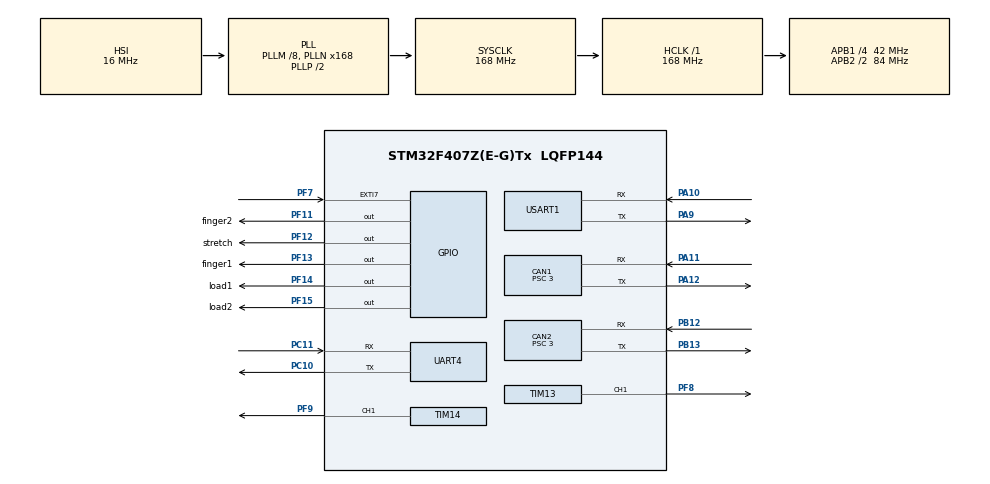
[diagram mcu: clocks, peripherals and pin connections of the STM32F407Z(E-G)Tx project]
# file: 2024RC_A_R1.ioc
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CAN1.ABOM=ENABLE
CAN1.BS1=CAN_BS1_9TQ
CAN1.BS2=CAN_BS2_4TQ
CAN1.CalculateBaudRate=1000000
CAN1.CalculateTimeBit=1000
CAN1.CalculateTimeQuantum=71.42857142857143
CAN1.Prescaler=3
CAN2.ABOM=ENABLE
CAN2.BS1=CAN_BS1_9TQ
CAN2.BS2=CAN_BS2_4TQ
CAN2.CalculateBaudRate=1000000
CAN2.CalculateTimeBit=1000
CAN2.CalculateTimeQuantum=71.42857142857143
CAN2.Prescaler=3
FREERTOS.Tasks01=FSM_switch,24,512,FSM_Task,Default,NULL,Dynamic,NULL,NULL;Chassis,16,512,Chassis_Task,Default,NULL,Dynamic,NULL,NULL;Seed,8,512,Seed_Task,Default,NULL,Dynamic,NULL,NULL;Shoot,8,512,Shoot_Task,Default,NULL,Dynamic,NULL,NULL;Move,16,512,Move_Task,Default,NULL,Dynamic,NULL,NULL
Mcu.Family=STM32F4
Mcu.Name=STM32F407Z(E-G)Tx
Mcu.Package=LQFP144
NVIC.CAN1_RX0_IRQn=true\:5\:0\:false\:false\:true\:true\:true\:true\:true
NVIC.CAN2_RX0_IRQn=true\:5\:0\:false\:false\:true\:true\:true\:true\:true
NVIC.EXTI9_5_IRQn=true\:5\:0\:false\:false\:true\:false\:true\:true\:true
NVIC.PriorityGroup=NVIC_PRIORITYGROUP_4
NVIC.TIM2_IRQn=true\:5\:0\:false\:false\:true\:true\:true\:true\:true
NVIC.TIM3_IRQn=true\:15\:0\:false\:false\:true\:false\:false\:true\:true
NVIC.TIM8_TRG_COM_TIM14_IRQn=true\:5\:0\:false\:false\:true\:true\:true\:true\:true
NVIC.TIM8_UP_TIM13_IRQn=true\:5\:0\:false\:false\:true\:true\:true\:true\:true
NVIC.TimeBase=TIM3_IRQn
NVIC.TimeBaseIP=TIM3
NVIC.UART4_IRQn=true\:5\:0\:false\:false\:true\:true\:true\:true\:true
NVIC.USART1_IRQn=true\:5\:0\:false\:false\:true\:true\:true\:true\:true
PA10.Mode=Asynchronous
PA10.Signal=USART1_RX
PA11.Mode=CAN_Activate
PA11.Signal=CAN1_RX
PA12.Mode=CAN_Activate
PA12.Signal=CAN1_TX
PA13.Mode=Serial_Wire
PA13.Signal=SYS_JTMS-SWDIO
PA14.Mode=Serial_Wire
PA14.Signal=SYS_JTCK-SWCLK
PA9.Mode=Asynchronous
PA9.Signal=USART1_TX
PB12.Mode=CAN_Activate
PB12.Signal=CAN2_RX
PB13.Mode=CAN_Activate
PB13.Signal=CAN2_TX
PC10.Mode=Asynchronous
PC10.Signal=UART4_TX
PC11.Mode=Asynchronous
PC11.Signal=UART4_RX
PC14-OSC32_IN.Mode=LSE-External-Oscillator
PC14-OSC32_IN.Signal=RCC_OSC32_IN
PC15-OSC32_OUT.Mode=LSE-External-Oscillator
PC15-OSC32_OUT.Signal=RCC_OSC32_OUT
PF11.GPIO_Label=finger2
PF11.Signal=GPIO_Output
PF12.GPIO_Label=stretch
PF12.Signal=GPIO_Output
PF13.GPIO_Label=finger1
PF13.Signal=GPIO_Output
PF14.GPIO_Label=load1
PF14.Signal=GPIO_Output
PF15.GPIO_Label=load2
PF15.Signal=GPIO_Output
PF7.Signal=GPXTI7
PF8.Signal=S_TIM13_CH1
PF9.Signal=S_TIM14_CH1
PH0-OSC_IN.Mode=HSE-External-Oscillator
PH0-OSC_IN.Signal=RCC_OSC_IN
PH1-OSC_OUT.Mode=HSE-External-Oscillator
PH1-OSC_OUT.Signal=RCC_OSC_OUT
ProjectManager.HeapSize=0x200
ProjectManager.StackSize=0x400
ProjectManager.TargetToolchain=MDK-ARM V5.32
RCC.48MHZClocksFreq_Value=84000000
RCC.AHBFreq_Value=168000000
RCC.APB1CLKDivider=RCC_HCLK_DIV4
RCC.APB1Freq_Value=42000000
RCC.APB1TimFreq_Value=84000000
RCC.APB2CLKDivider=RCC_HCLK_DIV2
RCC.APB2Freq_Value=84000000
RCC.APB2TimFreq_Value=168000000
RCC.CortexFreq_Value=168000000
RCC.HCLKFreq_Value=168000000
RCC.HSE_VALUE=8000000
RCC.HSI_VALUE=16000000
RCC.PLLM=8
RCC.PLLN=168
RCC.SYSCLKFreq_VALUE=168000000
RCC.SYSCLKSource=RCC_SYSCLKSOURCE_PLLCLK
RCC.VCOOutputFreq_Value=336000000
SH.S_TIM13_CH1.0=TIM13_CH1,PWM Generation1 CH1
SH.S_TIM14_CH1.0=TIM14_CH1,PWM Generation1 CH1
TIM13.AutoReloadPreload=TIM_AUTORELOAD_PRELOAD_ENABLE
TIM13.Channel=TIM_CHANNEL_1
TIM13.Period=19999
TIM13.Prescaler=83
TIM14.AutoReloadPreload=TIM_AUTORELOAD_PRELOAD_ENABLE
TIM14.Channel=TIM_CHANNEL_1
TIM14.OC1Preload_PWM=ENABLE
TIM14.Period=19999
TIM14.Prescaler=83
TIM2.Period=100000
TIM2.Prescaler=83
UART4.VirtualMode=Asynchronous
USART1.VirtualMode=VM_ASYNC
VP_FREERTOS_VS_CMSIS_V2.Mode=CMSIS_V2
VP_SYS_VS_tim3.Mode=TIM3
VP_TIM13_VS_ClockSourceINT.Mode=Enable_Timer
VP_TIM14_VS_ClockSourceINT.Mode=Enable_Timer
VP_TIM2_VS_ClockSourceINT.Mode=Internal
board=custom

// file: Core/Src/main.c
/* USER CODE BEGIN Header */
/**
  ******************************************************************************
  * @file           : main.c
  * @brief          : Main program body
  ******************************************************************************
  * @attention
  *
  * Copyright (c) 2023 STMicroelectronics.
  * All rights reserved.
  *
  * This software is licensed under terms that can be found in the LICENSE file
  * in the root directory of this software component.
  * If no LICENSE file comes with this software, it is provided AS-IS.
  *
  ******************************************************************************
  */
/* USER CODE END Header */
#include "main.h"
#include "cmsis_os.h"
#include "can.h"
#include "tim.h"
#include "usart.h"
#include "gpio.h"

void SystemClock_Config(void);
void MX_FREERTOS_Init(void);

int main(void)
{

  /* MCU Configuration--------------------------------------------------------*/

  /* Reset of all peripherals, Initializes the Flash interface and the Systick. */
  HAL_Init();

  /* Configure the system clock */
  SystemClock_Config();

  /* Initialize all configured peripherals */
  MX_GPIO_Init();
  MX_CAN1_Init();
  MX_CAN2_Init();
  MX_TIM2_Init();
  MX_TIM13_Init();
  MX_TIM14_Init();
  MX_UART4_Init();
  MX_USART1_UART_Init();
  /* USER CODE BEGIN 2 */
  HAL_TIM_Base_Start_IT(&htim2);//初始化定时器2

  uint8_t USART_Receiver1;
  HAL_UART_Receive_IT(&huart4,&USART_Receiver1,1);//初始化action

  can_filter_init();
  can1_config();
  can2_config();
  servos_start();
  /* USER CODE END 2 */

  /* Init scheduler */
  osKernelInitialize();

  /* Call init function for freertos objects (in freertos.c) */
  MX_FREERTOS_Init();

  /* Start scheduler */
  osKernelStart();

  /* We should never get here as control is now taken by the scheduler */
  /* Infinite loop */
  while (1)
  {

  }
}

void SystemClock_Config(void)
{
  RCC_OscInitTypeDef RCC_OscInitStruct = {0};
  RCC_ClkInitTypeDef RCC_ClkInitStruct = {0};

  /** Configure the main internal regulator output voltage
  */
  __HAL_RCC_PWR_CLK_ENABLE();
  __HAL_PWR_VOLTAGESCALING_CONFIG(PWR_REGULATOR_VOLTAGE_SCALE1);

  /** Initializes the RCC Oscillators according to the specified parameters
  * in the RCC_OscInitTypeDef structure.
  */
  RCC_OscInitStruct.OscillatorType = RCC_OSCILLATORTYPE_HSI;
  RCC_OscInitStruct.HSIState = RCC_HSI_ON;
  RCC_OscInitStruct.HSICalibrationValue = RCC_HSICALIBRATION_DEFAULT;
  RCC_OscInitStruct.PLL.PLLState = RCC_PLL_ON;
  RCC_OscInitStruct.PLL.PLLSource = RCC_PLLSOURCE_HSI;
  RCC_OscInitStruct.PLL.PLLM = 8;
  RCC_OscInitStruct.PLL.PLLN = 168;
  RCC_OscInitStruct.PLL.PLLP = RCC_PLLP_DIV2;
  RCC_OscInitStruct.PLL.PLLQ = 4;
  if (HAL_RCC_OscConfig(&RCC_OscInitStruct) != HAL_OK)
  {
    Error_Handler();
  }

  /** Initializes the CPU, AHB and APB buses clocks
  */
  RCC_ClkInitStruct.ClockType = RCC_CLOCKTYPE_HCLK|RCC_CLOCKTYPE_SYSCLK
                              |RCC_CLOCKTYPE_PCLK1|RCC_CLOCKTYPE_PCLK2;
  RCC_ClkInitStruct.SYSCLKSource = RCC_SYSCLKSOURCE_PLLCLK;
  RCC_ClkInitStruct.AHBCLKDivider = RCC_SYSCLK_DIV1;
  RCC_ClkInitStruct.APB1CLKDivider = RCC_HCLK_DIV4;
  RCC_ClkInitStruct.APB2CLKDivider = RCC_HCLK_DIV2;

  if (HAL_RCC_ClockConfig(&RCC_ClkInitStruct, FLASH_LATENCY_5) != HAL_OK)
  {
    Error_Handler();
  }
}

/* USER CODE BEGIN 4 */
int fputc(int ch, FILE *f)
{
 uint8_t temp[1] = {ch};
 HAL_UART_Transmit(&huart1, temp, 1, 2);
 return ch;
}
/* USER CODE END 4 */

void HAL_TIM_PeriodElapsedCallback(TIM_HandleTypeDef *htim)
{
  /* USER CODE BEGIN Callback 0 */
  if (htim->Instance == TIM2)
  {
      LAST_TIME_ISR_CNT = TIME_ISR_CNT;
      TIME_ISR_CNT++;
      Microsecond_Cnt++;
      if (Microsecond_Cnt >= 100)
      {
      Microsecond_Cnt = 0;
      Time_Sys[Second]++;
      if (Time_Sys[Second] >= 60)
      {
          Time_Sys[Second] = 0;
          Time_Sys[Minute]++;
          if (Time_Sys[Minute] >= 60)
          {
          Time_Sys[Minute] = 0;
          Time_Sys[Hour]++;
          }
      }
      }
      Time_Sys[MicroSecond] = Microsecond_Cnt;
  }
  /* USER CODE END Callback 0 */
  if (htim->Instance == TIM3) {
    HAL_IncTick();
  }
}

void Error_Handler(void)
{
  __disable_irq();
  while (1)
  {
  }
}
